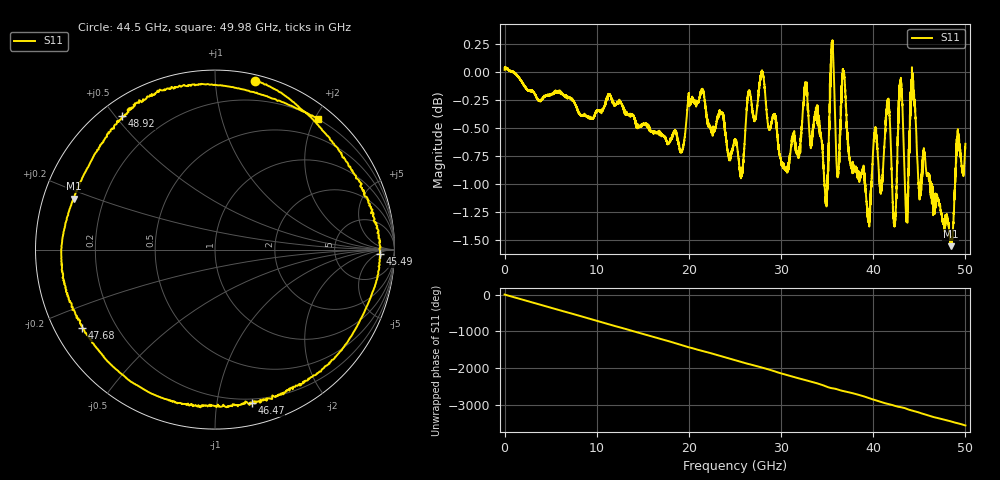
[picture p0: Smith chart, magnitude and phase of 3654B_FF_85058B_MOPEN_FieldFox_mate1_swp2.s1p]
!Created with skrf (http://scikit-rf.org).
# Hz S RI R 50.0
!freq ReS11 ImS11
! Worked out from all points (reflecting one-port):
!   10001 points, 300 kHz to 50 GHz, reference 50 ohm
!   lowest |S11| = -1.6 dB at 48.43 GHz (marker M1), VSWR 11.17, Z = 4.61 + j8.68 ohm
!   phase of S11 starts at 0 deg and turns -3550 deg over the sweep
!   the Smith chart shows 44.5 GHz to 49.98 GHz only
!   S11 on the Smith chart (normalised r, x): 44.5 GHz: 0.04, +1.26; 45.49 GHz: 21, -6; 46.47 GHz: 0.17, -1.25; 47.68 GHz: 0.08, -0.27; 48.92 GHz: 0.06, +0.52; 49.98 GHz: 0.20, +2.04
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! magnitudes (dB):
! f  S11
! 300 kHz  0.0
! 6.25 GHz  -0.2
! 12.5 GHz  -0.3
! 18.75 GHz  -0.6
! 21.43 GHz  -0.2
! 25 GHz  -0.6
! 27.93 GHz  0.0
! 31.25 GHz  -0.6
! 32.68 GHz  -0.1
! 34.88 GHz  -1.1
! 35.55 GHz  0.3
! 36.12 GHz  -0.9
! 36.78 GHz  0.0
! 37.5 GHz  -0.8
! 39.49 GHz  -1.3
! 41.59 GHz  -0.3
! 42.31 GHz  -1.4
! 42.97 GHz  -0.1
! 43.75 GHz  -1.2
! 44.5 GHz  -0.3
! 45 GHz  -1.1
! 45.49 GHz  -0.7
! 46.47 GHz  -1.1
! 47.68 GHz  -1.3
! 48.43 GHz  -1.6
! 48.92 GHz  -0.9
! 49.98 GHz  -0.7
! 50 GHz  -0.6
